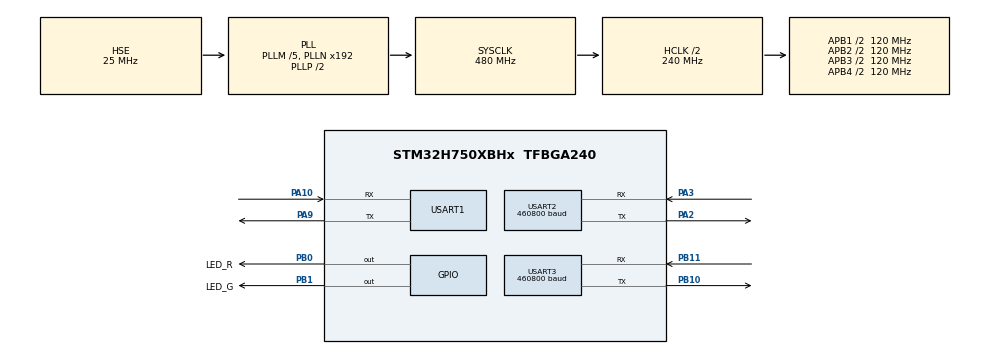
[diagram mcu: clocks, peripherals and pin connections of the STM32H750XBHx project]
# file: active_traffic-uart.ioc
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CORTEX_M7.default_mode_Activation=1
Mcu.Family=STM32H7
Mcu.Name=STM32H750XBHx
Mcu.Package=TFBGA240
NVIC.PriorityGroup=NVIC_PRIORITYGROUP_4
NVIC.USART1_IRQn=true\:0\:0\:false\:false\:true\:true\:true\:true
NVIC.USART2_IRQn=true\:0\:0\:false\:false\:true\:true\:true\:true
NVIC.USART3_IRQn=true\:0\:0\:false\:false\:true\:true\:true\:true
PA10.Mode=Asynchronous
PA10.Signal=USART1_RX
PA2.Mode=Asynchronous
PA2.Signal=USART2_TX
PA3.Mode=Asynchronous
PA3.Signal=USART2_RX
PA9.Mode=Asynchronous
PA9.Signal=USART1_TX
PB0.GPIO_Label=LED_R
PB0.Signal=GPIO_Output
PB1.GPIO_Label=LED_G
PB1.PinState=GPIO_PIN_SET
PB1.Signal=GPIO_Output
PB10.Mode=Asynchronous
PB10.Signal=USART3_TX
PB11.Mode=Asynchronous
PB11.Signal=USART3_RX
PC10.Signal=UART4_TX
PC11.Signal=UART4_RX
PH0-OSC_IN\ (PH0).Mode=HSE-External-Oscillator
PH0-OSC_IN\ (PH0).Signal=RCC_OSC_IN
PH1-OSC_OUT\ (PH1).Mode=HSE-External-Oscillator
PH1-OSC_OUT\ (PH1).Signal=RCC_OSC_OUT
ProjectManager.HeapSize=0x200
ProjectManager.StackSize=0x400
ProjectManager.TargetToolchain=MDK-ARM V5.32
RCC.ADCFreq_Value=50390625
RCC.APB1Freq_Value=120000000
RCC.APB2Freq_Value=120000000
RCC.APB3Freq_Value=120000000
RCC.APB4Freq_Value=120000000
RCC.CortexFreq_Value=480000000
RCC.D1PPRE=RCC_APB3_DIV2
RCC.D2PPRE1=RCC_APB1_DIV2
RCC.D2PPRE2=RCC_APB2_DIV2
RCC.D3PPRE=RCC_APB4_DIV2
RCC.DIVM1=5
RCC.DIVN1=192
RCC.HCLKFreq_Value=240000000
RCC.HPRE=RCC_HCLK_DIV2
RCC.PLLSourceVirtual=RCC_PLLSOURCE_HSE
RCC.SYSCLKFreq_VALUE=480000000
RCC.SYSCLKSource=RCC_SYSCLKSOURCE_PLLCLK
RCC.USBFreq_Value=480000000
USART1.VirtualMode-Asynchronous=VM_ASYNC
USART2.BaudRate=460800
USART2.VirtualMode-Asynchronous=VM_ASYNC
USART3.BaudRate=460800
USART3.VirtualMode-Asynchronous=VM_ASYNC
VP_MEMORYMAP_VS_MEMORYMAP.Mode=CurAppReg
board=custom

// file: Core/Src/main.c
/* USER CODE BEGIN Header */
/**
 ******************************************************************************
 * @file           : main.c
 * @brief          : Main program body
 ******************************************************************************
 * @attention
 *
 * Copyright (c) 2026 STMicroelectronics.
 * All rights reserved.
 *
 * This software is licensed under terms that can be found in the LICENSE file
 * in the root directory of this software component.
 * If no LICENSE file comes with this software, it is provided AS-IS.
 *
 ******************************************************************************
 */
/* USER CODE END Header */
#include "main.h"
#include "usart.h"
#include "gpio.h"

/* USER CODE BEGIN Includes */
#include "uart_loopback_config.h"
#include "uart_frame.h"
#include "stdio.h"
#if UART_LOOPBACK_TEST_ENABLE
#include "uart_loopback_test.h"
#endif
/* USER CODE END Includes */

/* USER CODE BEGIN PV */
#define UWB_RX_BUFFER_SIZE 2048
uint8_t uwb_rx_buffer[UWB_RX_BUFFER_SIZE];
uint16_t uwb_rx_index = 0;

#define AGV_RX_BUFFER_SIZE 2048
uint8_t agv_rx_buffer[AGV_RX_BUFFER_SIZE];
uint16_t agv_rx_index = 0;

// Status feedback data
status_feedback_t status_feedback;
volatile uint8_t status_feedback_ready = 0;

// Timing variables
uint32_t last_status_query_time = 0;
uint32_t status_query_interval = 1000; // Query every 1 seconds

// Sensor data
sensor_data_t sensor_data;
volatile uint8_t uwb_data_ready = 0;

// UWB data
int32_t uwb_x = 0;
int32_t uwb_y = 0;
uint32_t uwb_valid_frame_count = 0;
uint8_t uwb_data_valid = 0;

// UWB frame metadata (for deferred parsing)
volatile uint8_t uwb_frame_found = 0;
size_t uwb_frame_start = 0;
size_t uwb_frame_length = 0;
uint32_t uwb_last_parse_time = 0;
uint32_t uwb_parse_interval = 1000; // Parse every 1 second

// AGV frame metadata (for on-demand parsing)
volatile uint8_t agv_frame_found = 0;
size_t agv_frame_start = 0;
size_t agv_frame_length = 0;

// Debug counters
uint32_t uwb_interrupt_count = 0;
uint32_t uwb_byte_count = 0;
uint32_t uwb_frame_detected_count = 0;
uint32_t uwb_frame_parsed_count = 0;

uint32_t agv_interrupt_count = 0;
uint32_t agv_byte_count = 0;
uint32_t agv_frame_detected_count = 0;
uint32_t agv_frame_parsed_count = 0;

/* USER CODE END PV */

void SystemClock_Config(void);
static void MPU_Config(void);
void turn_left(void);
/* USER CODE BEGIN FPP */
void Process_UWB_Data(void);
void Send_Control_Command(void); // Declare control command sending function
void Process_Status_Feedback(void);
void Query_Status_Feedback(void);
void parse_received_frame(const uint8_t* frame_data, size_t frame_len);
void parse_uwb_frame(void);  // Periodic UWB frame parsing
void parse_agv_frame(void);  // On-demand AGV frame parsing
/* USER CODE END FFP */

int main(void)
{

  /* MPU Configuration--------------------------------------------------------*/
  MPU_Config();

  /* MCU Configuration--------------------------------------------------------*/

  /* Reset of all peripherals, Initializes the Flash interface and the Systick. */
  HAL_Init();

  /* Configure the system clock */
  SystemClock_Config();

  /* Initialize all configured peripherals */
  MX_GPIO_Init();
  MX_USART2_UART_Init();
  MX_USART1_UART_Init();
  MX_USART3_UART_Init();

  /* USER CODE BEGIN 2 */
  // USART2: printf 输出通道（已在 fputc -> huart2 中重定向）

  // USART1: UWB receive (独立通道)
  HAL_UART_Receive_IT(&huart1, &uwb_rx_buffer[uwb_rx_index], 1);

  // USART3: AGV状态接收通道
  HAL_UART_Receive_IT(&huart3, &agv_rx_buffer[agv_rx_index], 1);

  printf("\nUSART1 UWB Rx interrupt started. System ready.\r\n");
  printf("USART3 AGV status Rx interrupt started.\r\n");
  printf("UWB frames will be parsed every %lu ms.\r\n\r\n", uwb_parse_interval);

  Send_Control_Command();
  HAL_Delay(200); // 200ms延时，0.5Hz 发送频率

  // Initialize timers
  uwb_last_parse_time = HAL_GetTick();

  /* USER CODE END 2 */

  /* Infinite loop */
  while (1)
  {

    /* USER CODE BEGIN 3 */
#if UART_LOOPBACK_TEST_ENABLE
#if (UART_LOOPBACK_HARDWARE_ENABLE == 1)
    // 硬件回环模式：执行UART自收自发测试
    if (uart_loopback_test_execute())
    {
      // 测试通过 - 绿灯闪烁3次
      for (int i = 0; i < 3; i++)
      {
        led_on(led_g);
        HAL_Delay(100);
        led_off(led_g);
        HAL_Delay(100);
      }
    }
    else
    {
      // 测试失败 - 红灯长亮2秒
      led_on(led_r);
      HAL_Delay(2000);
      led_off(led_r);
    }
    HAL_Delay(UART_LOOPBACK_TEST_INTERVAL_MS);
#else
    // 硬件回环开关关闭：走正常AGV控制发送逻辑
    Send_Control_Command();
    HAL_Delay(2000); // 2 秒延时，0.5Hz 发送频率
#endif
#else
    // 未启用回环测试编译：走正常AGV控制发送逻辑

    // Every 1 second: Parse UWB frames (periodic)
    uint32_t current_time = HAL_GetTick();
    if (current_time - uwb_last_parse_time >= uwb_parse_interval) {
      parse_uwb_frame();
      uwb_last_parse_time = current_time;
    }

    // On-demand: Process UWB data when available
    if (uwb_data_ready) {
      uwb_data_ready = 0;
      Process_UWB_Data();
    }

    // On-demand: Query and process AGV status (call parse_agv_frame manually when needed)
    if (status_feedback_ready) {
      status_feedback_ready = 0;
      Process_Status_Feedback();
    }

#endif
  }
  /* USER CODE END 3 */
}

void SystemClock_Config(void)
{
  RCC_OscInitTypeDef RCC_OscInitStruct = {0};
  RCC_ClkInitTypeDef RCC_ClkInitStruct = {0};

  /** Supply configuration update enable
   */
  HAL_PWREx_ConfigSupply(PWR_LDO_SUPPLY);

  /** Configure the main internal regulator output voltage
   */
  __HAL_PWR_VOLTAGESCALING_CONFIG(PWR_REGULATOR_VOLTAGE_SCALE0);

  while (!__HAL_PWR_GET_FLAG(PWR_FLAG_VOSRDY))
  {
  }

  /** Initializes the RCC Oscillators according to the specified parameters
   * in the RCC_OscInitTypeDef structure.
   */
  RCC_OscInitStruct.OscillatorType = RCC_OSCILLATORTYPE_HSE;
  RCC_OscInitStruct.HSEState = RCC_HSE_ON;
  RCC_OscInitStruct.PLL.PLLState = RCC_PLL_ON;
  RCC_OscInitStruct.PLL.PLLSource = RCC_PLLSOURCE_HSE;
  RCC_OscInitStruct.PLL.PLLM = 5;
  RCC_OscInitStruct.PLL.PLLN = 192;
  RCC_OscInitStruct.PLL.PLLP = 2;
  RCC_OscInitStruct.PLL.PLLQ = 2;
  RCC_OscInitStruct.PLL.PLLR = 2;
  RCC_OscInitStruct.PLL.PLLRGE = RCC_PLL1VCIRANGE_2;
  RCC_OscInitStruct.PLL.PLLVCOSEL = RCC_PLL1VCOWIDE;
  RCC_OscInitStruct.PLL.PLLFRACN = 0;
  if (HAL_RCC_OscConfig(&RCC_OscInitStruct) != HAL_OK)
  {
    Error_Handler();
  }

  /** Initializes the CPU, AHB and APB buses clocks
   */
  RCC_ClkInitStruct.ClockType = RCC_CLOCKTYPE_HCLK | RCC_CLOCKTYPE_SYSCLK | RCC_CLOCKTYPE_PCLK1 | RCC_CLOCKTYPE_PCLK2 | RCC_CLOCKTYPE_D3PCLK1 | RCC_CLOCKTYPE_D1PCLK1;
  RCC_ClkInitStruct.SYSCLKSource = RCC_SYSCLKSOURCE_PLLCLK;
  RCC_ClkInitStruct.SYSCLKDivider = RCC_SYSCLK_DIV1;
  RCC_ClkInitStruct.AHBCLKDivider = RCC_HCLK_DIV2;
  RCC_ClkInitStruct.APB3CLKDivider = RCC_APB3_DIV2;
  RCC_ClkInitStruct.APB1CLKDivider = RCC_APB1_DIV2;
  RCC_ClkInitStruct.APB2CLKDivider = RCC_APB2_DIV2;
  RCC_ClkInitStruct.APB4CLKDivider = RCC_APB4_DIV2;

  if (HAL_RCC_ClockConfig(&RCC_ClkInitStruct, FLASH_LATENCY_4) != HAL_OK)
  {
    Error_Handler();
  }
}

/* USER CODE BEGIN 4 */

/**
 * @brief Send control command for AGV to move straight
 */
void Send_Control_Command(void)
{
  // Construct control command
  ctrl_frame_t ctrl = {0};
  printf("in the send control command status\n");  // Set angles (straight)
  ctrl.angles.angle_left = 0.0f;
  ctrl.angles.angle_right = 0.0f;
  ctrl.angles.angle_camera = 0.0f;

  // Set flags
  ctrl.flags.chassis_lock = 0; // Unlock, allow movement
  ctrl.flags.motor0_break = 0; // Left motor brake release
  ctrl.flags.motor1_break = 0; // Right motor brake release
  ctrl.flags.diff_locked = 0;  // Differential lock off

  // Set motor parameters
  ctrl.motor_rpm.left = 0;    // Left wheel PWM, 30% speed
  ctrl.motor_rpm.right = 80;   // Right wheel PWM, 30% speed
  ctrl.motor_rpm.pulses = 930; // Target pulse count (1 revolution, approx. 0.471m)

  // Set LED control
  ctrl.led_ctrl.red_mode = 0;      // OFF
  ctrl.led_ctrl.blue_mode = 0;     // OFF
  ctrl.led_ctrl.defenses_mode = 0; // OFF
  ctrl.led_ctrl.flow_enable = 0;   // Turn off flowing light effect
  ctrl.led_ctrl.period_ms = 0;     // Blink period 0ms
  ctrl.led_ctrl.duty_cycle = 0;    // Duty cycle 0%

  // Pack into protocol frame
  uint8_t tx_buf[256];
  uint16_t frame_len = 0;

  int32_t rc = uart_frame_pack(
      UART_FRAME_TYPE_CONTROL_CMD, // Control command type
      (uint8_t *)&ctrl,            // Control command data
      sizeof(ctrl_frame_t),        // Data length
      tx_buf,                      // Output buffer
      sizeof(tx_buf),              // Buffer size
      &frame_len                   // Output frame length
  );

  if (rc == UART_FRAME_OK && frame_len > 0)
  {
    printf("Control command packed successfully, frame length: %u\r\n", frame_len);

    // Display the first 16 bytes in hexadecimal
    printf("Frame data (hex): ");
    for (int i = 0; i < frame_len; i++)
    {
      printf("%02X ", tx_buf[i]);
      if ((i + 1) % 16 == 0)
        printf("\r\n");
    }
    printf("\r\n");

    // Send control command frame
    HAL_StatusTypeDef tx_status = HAL_UART_Transmit(&huart3, tx_buf, frame_len, 1000);

    if (tx_status == HAL_OK)
    {
      printf("Control command sent successfully!\r\n");

      // LED blink indicates successful transmission
      for (int i = 0; i < 3; i++)
      {
        led_on(led_g);
        HAL_Delay(100);
        led_off(led_g);
        HAL_Delay(100);
      }
    }
    else
    {
      printf("Transmission failed: %d\r\n", tx_status);

      // LED steady on indicates transmission failure
      led_on(led_r);
      HAL_Delay(2000);
      led_off(led_r);
    }
  }
  else
  {
    printf("Packing failed: %ld\r\n", (long)rc);

    // LED fast blinking indicates packing failure
    for (int i = 0; i < 5; i++)
    {
      led_on(led_r);
      HAL_Delay(200);
      led_off(led_r);
      HAL_Delay(200);
    }
  }
}

/**
  * @brief Query status feedback from AGV
  * @note Based on the document: "查询STATUS_FEEDBACK(请求体全零)"
  */
void Query_Status_Feedback(void)
{
  // 创建全零的请求体
  status_feedback_t req = {0};

  uint8_t tx_buf[256];
  uint16_t frame_len = 0;

  int32_t rc = uart_frame_pack(
      UART_FRAME_TYPE_STATUS_FEEDBACK,
      (uint8_t*)&req,
      sizeof(status_feedback_t),
      tx_buf,
      sizeof(tx_buf),
      &frame_len
  );

  if (rc == UART_FRAME_OK && frame_len > 0) {
    printf("Status query packed successfully, sending...\r\n");

    // Send via USART3
    HAL_StatusTypeDef tx_status = HAL_UART_Transmit(&huart3, tx_buf, frame_len, 1000);

    if (tx_status == HAL_OK) {
      printf("Status query sent successfully via USART3!\r\n");
    } else {
      printf("Status query transmission failed: %d\r\n", tx_status);
    }
  } else {
    printf("Status query packing failed: %ld\r\n", (long)rc);
  }
}

/**
  * @brief Process status feedback data
  * @note Print detailed status information to USART2
  */
void Process_Status_Feedback(void)
{
  printf("\r\n=== STATUS FEEDBACK RECEIVED ===\r\n");

  // 1. Angles
  printf("1. Current Angles:\r\n");
  printf("   Left wheel: %.1f°\r\n", status_feedback.angles.angle_left);
  printf("   Right wheel: %.1f°\r\n", status_feedback.angles.angle_right);
  printf("   Camera: %.1f°\r\n", status_feedback.angles.angle_camera);

  // 2. Flags
  printf("2. System Flags:\r\n");
  printf("   Chassis lock: %s\r\n", status_feedback.flags.chassis_lock ? "LOCKED" : "UNLOCKED");
  printf("   Left motor brake: %s\r\n", status_feedback.flags.motor0_break ? "ON" : "OFF");
  printf("   Right motor brake: %s\r\n", status_feedback.flags.motor1_break ? "ON" : "OFF");
  printf("   Differential lock: %s\r\n", status_feedback.flags.diff_locked ? "ON" : "OFF");

  // 3. Motor status
  printf("3. Motor Status:\r\n");
  printf("   Left PWM: %d (actual)\r\n", status_feedback.motor_rpm.left);
  printf("   Right PWM: %d (actual)\r\n", status_feedback.motor_rpm.right);
  printf("   Remaining pulses: %lu\r\n", status_feedback.motor_rpm.remain_pulses);
  printf("   Left wheel laps: %.2f\r\n", status_feedback.motor_rpm.left_laps);
  printf("   Right wheel laps: %.2f\r\n", status_feedback.motor_rpm.right_laps);

  // 4. LED control
  printf("4. LED Control:\r\n");
  printf("   Red LED mode: %u\r\n", status_feedback.led_ctrl.red_mode);
  printf("   Blue LED mode: %u\r\n", status_feedback.led_ctrl.blue_mode);
  printf("   Defenses LED mode: %u\r\n", status_feedback.led_ctrl.defenses_mode);
  printf("   Flow enable: %s\r\n", status_feedback.led_ctrl.flow_enable ? "ON" : "OFF");
  printf("   Blink period: %u ms\r\n", status_feedback.led_ctrl.period_ms);
  printf("   Duty cycle: %u%%\r\n", status_feedback.led_ctrl.duty_cycle);

  // 5. Execution result
  printf("5. Last Command Result: %s\r\n", status_feedback.result == 0 ? "SUCCESS" : "FAILED");

  printf("===================================\r\n\r\n");
}

/**
  * @brief USART1 receive interrupt callback
  * @note 这是最关键的函数！当AGV返回数据时，会触发这个中断
  */
void HAL_UART_RxCpltCallback(UART_HandleTypeDef *huart)
{
  if (huart->Instance == USART1)
  {
    uint8_t received_byte = uwb_rx_buffer[uwb_rx_index];
    uwb_interrupt_count++;
    uwb_byte_count++;

    if (uwb_byte_count <= 16) {
      printf("[SUART1 IRQ] Byte %lu: 0x%02X at index %u\r\n", uwb_byte_count, received_byte, uwb_rx_index);
    }

    uwb_rx_index++;
    if (uwb_rx_index >= UWB_RX_BUFFER_SIZE) {
      printf("[WARN] UWB buffer full, wrapping around...\r\n");
      uwb_rx_index = 0;
    }

    // Only detect frames, don't parse yet (parsing happens in main loop with timer)
    size_t frame_start = 0;
    size_t frame_length = 0;
    int32_t find_result = uart_frame_find(uwb_rx_buffer, uwb_rx_index, &frame_start, &frame_length);

    if (find_result == UART_FRAME_OK) {
      uwb_frame_detected_count++;
      printf("[FRAME] UWB frame #%lu found: Start=%lu Length=%lu (will parse periodically)\r\n",
             uwb_frame_detected_count, frame_start, frame_length);
      // Store frame metadata for later parsing
      uwb_frame_found = 1;
      uwb_frame_start = frame_start;
      uwb_frame_length = frame_length;
    } else {
      if (uwb_byte_count % 100 == 0) {
        printf("[BUFFER] %u bytes, waiting for frame... (UWB)\r\n", uwb_rx_index);
      }
    }

    HAL_UART_Receive_IT(&huart1, &uwb_rx_buffer[uwb_rx_index], 1);
  }
  else if (huart->Instance == USART3)
  {
    uint8_t received_byte = agv_rx_buffer[agv_rx_index];
    agv_interrupt_count++;
    agv_byte_count++;

    if (agv_byte_count <= 16) {
      printf("[USART3 IRQ] Byte %lu: 0x%02X at index %u\r\n", agv_byte_count, received_byte, agv_rx_index);
    }

    agv_rx_index++;
    if (agv_rx_index >= AGV_RX_BUFFER_SIZE) {
      printf("[WARN] AGV buffer full (USART3), wrapping around...\r\n");
      agv_rx_index = 0;
    }

    // Only detect frames, don't parse yet (parsing happens on-demand in main loop)
    size_t frame_start = 0;
    size_t frame_length = 0;
    int32_t find_result = uart_frame_find(agv_rx_buffer, agv_rx_index, &frame_start, &frame_length);

    if (find_result == UART_FRAME_OK) {
      agv_frame_detected_count++;
      printf("[FRAME] AGV frame #%lu found: Start=%lu Length=%lu (will parse on-demand)\r\n",
             agv_frame_detected_count, frame_start, frame_length);
      // Store frame metadata for on-demand parsing
      agv_frame_found = 1;
      agv_frame_start = frame_start;
      agv_frame_length = frame_length;
    } else {
      if ((agv_byte_count % 100) == 0) {
        printf("[BUFFER] %u bytes, waiting for frame... (AGV)\r\n", agv_rx_index);
      }
    }

    HAL_UART_Receive_IT(&huart3, &agv_rx_buffer[agv_rx_index], 1);
  }
}

/**
  * @brief Parse received UART frame
  * @note 根据文档的"最小解析"示例
  */
void parse_received_frame(const uint8_t* frame_data, size_t frame_len)
{
  uart_frame_parse_result_t r;
  int32_t ret = uart_frame_parse(frame_data, frame_len, &r);

  if (ret != UART_FRAME_OK)
  {
    printf("Parse failed: %s\r\n", uart_frame_get_error_string(ret));
    return;
  }

  printf("[PARSE] Type: 0x%02X, Length: %u\r\n", r.type, r.data_len);

  switch(r.type)
  {
    case 0x10:  // SENSOR_DATA
      printf("[SENSOR] Data frame received!\r\n");
      if (r.data_len >= sizeof(sensor_data_t)) {
        memcpy(&sensor_data, r.data_ptr, sizeof(sensor_data_t));

        // 打印完整有效性标志用于调试
        printf("[VALID] Flags: 0x%08lX\r\n", sensor_data.valid_flags);

        // 检查UWB数据有效性
        if ((sensor_data.valid_flags & DATA_INVALID_UWB) == 0) {
          uwb_data_valid = 1;
          uwb_x = sensor_data.uwb.x;
          uwb_y = sensor_data.uwb.y;
          uwb_valid_frame_count++;
          uwb_data_ready = 1;
          printf("[UWB] Valid data ready: x=%d, y=%d\r\n", uwb_x, uwb_y);
        } else {
          uwb_data_valid = 0;
          printf("[UWB] Data marked as invalid (flag=0x%08lX)\r\n",
                 sensor_data.valid_flags);
        }
      } else {
        printf("[ERROR] Sensor data too short: %u < %lu\r\n",
               r.data_len, sizeof(sensor_data_t));
      }
      break;

    case 0x14:  // STATUS_FEEDBACK
      printf("[STATUS] Feedback frame received!\r\n");
      if (r.data_len >= sizeof(status_feedback_t)) {
        memcpy(&status_feedback, r.data_ptr, sizeof(status_feedback_t));
        status_feedback_ready = 1;
      }
      break;

    default:
      printf("[UNKNOWN] Frame type: 0x%02X\r\n", r.type);
      // 打印前20字节用于调试
      printf("Raw data: ");
      for (size_t i = 0; i < (r.data_len < 20 ? r.data_len : 20); i++) {
        printf("%02X ", r.data_ptr[i]);
      }
      printf("\r\n");
      break;
  }
}

/**
  * @brief Process UWB data
  */
void Process_UWB_Data(void)
{
  if (uwb_data_valid) {
    printf("[%lu] UWB: x=%d cm, y=%d cm\r\n", uwb_valid_frame_count, uwb_x, uwb_y);
  }else {
    printf("[UWB] No valid data to display\r\n");
  }
}

/**
  * @brief Parse UWB frame (called periodically every 1 second)
  */
void parse_uwb_frame(void)
{
  if (!uwb_frame_found) {
    return;
  }

  printf("[UWB PARSE] Processing UWB frame: Start=%lu Length=%lu\r\n",
         uwb_frame_start, uwb_frame_length);

  // Parse the frame
  parse_received_frame(&uwb_rx_buffer[uwb_frame_start], uwb_frame_length);

  // Clean up buffer after parsing
  size_t bytes_to_remove = uwb_frame_start + uwb_frame_length;
  if (bytes_to_remove > 0) {
    size_t remaining = uwb_rx_index - bytes_to_remove;
    if (remaining > 0) {
      memmove(uwb_rx_buffer, &uwb_rx_buffer[bytes_to_remove], remaining);
    }
    uwb_rx_index = (uint16_t)remaining;
    printf("[BUFFER] Removed %lu bytes, now %u bytes remain (UWB)\r\n", bytes_to_remove, uwb_rx_index);
  }

  uwb_frame_parsed_count++;
  uwb_frame_found = 0;
}

/**
  * @brief Parse AGV frame (called on-demand)
  */
void parse_agv_frame(void)
{
  if (!agv_frame_found) {
    printf("[AGV PARSE] No AGV frame found\r\n");
    return;
  }

  printf("[AGV PARSE] Processing AGV frame: Start=%lu Length=%lu\r\n",
         agv_frame_start, agv_frame_length);

  // Parse the frame
  parse_received_frame(&agv_rx_buffer[agv_frame_start], agv_frame_length);

  // Clean up buffer after parsing
  size_t bytes_to_remove = agv_frame_start + agv_frame_length;
  if (bytes_to_remove > 0) {
    size_t remaining = agv_rx_index - bytes_to_remove;
    if (remaining > 0) {
      memmove(agv_rx_buffer, &agv_rx_buffer[bytes_to_remove], remaining);
    }
    agv_rx_index = (uint16_t)remaining;
    printf("[BUFFER] Removed %lu bytes, now %u bytes remain (AGV)\r\n", bytes_to_remove, agv_rx_index);
  }

  agv_frame_parsed_count++;
  agv_frame_found = 0;
}

/* USER CODE END 4 */

/* MPU Configuration */

void MPU_Config(void)
{
  MPU_Region_InitTypeDef MPU_InitStruct = {0};

  /* Disables the MPU */
  HAL_MPU_Disable();

  /** Initializes and configures the Region and the memory to be protected
   */
  MPU_InitStruct.Enable = MPU_REGION_ENABLE;
  MPU_InitStruct.Number = MPU_REGION_NUMBER0;
  MPU_InitStruct.BaseAddress = 0x0;
  MPU_InitStruct.Size = MPU_REGION_SIZE_4GB;
  MPU_InitStruct.SubRegionDisable = 0x87;
  MPU_InitStruct.TypeExtField = MPU_TEX_LEVEL0;
  MPU_InitStruct.AccessPermission = MPU_REGION_NO_ACCESS;
  MPU_InitStruct.DisableExec = MPU_INSTRUCTION_ACCESS_DISABLE;
  MPU_InitStruct.IsShareable = MPU_ACCESS_SHAREABLE;
  MPU_InitStruct.IsCacheable = MPU_ACCESS_NOT_CACHEABLE;
  MPU_InitStruct.IsBufferable = MPU_ACCESS_NOT_BUFFERABLE;

  HAL_MPU_ConfigRegion(&MPU_InitStruct);
  /* Enables the MPU */
  HAL_MPU_Enable(MPU_PRIVILEGED_DEFAULT);
}

void Error_Handler(void)
{
  __disable_irq();
  while (1)
  {
  }
}
